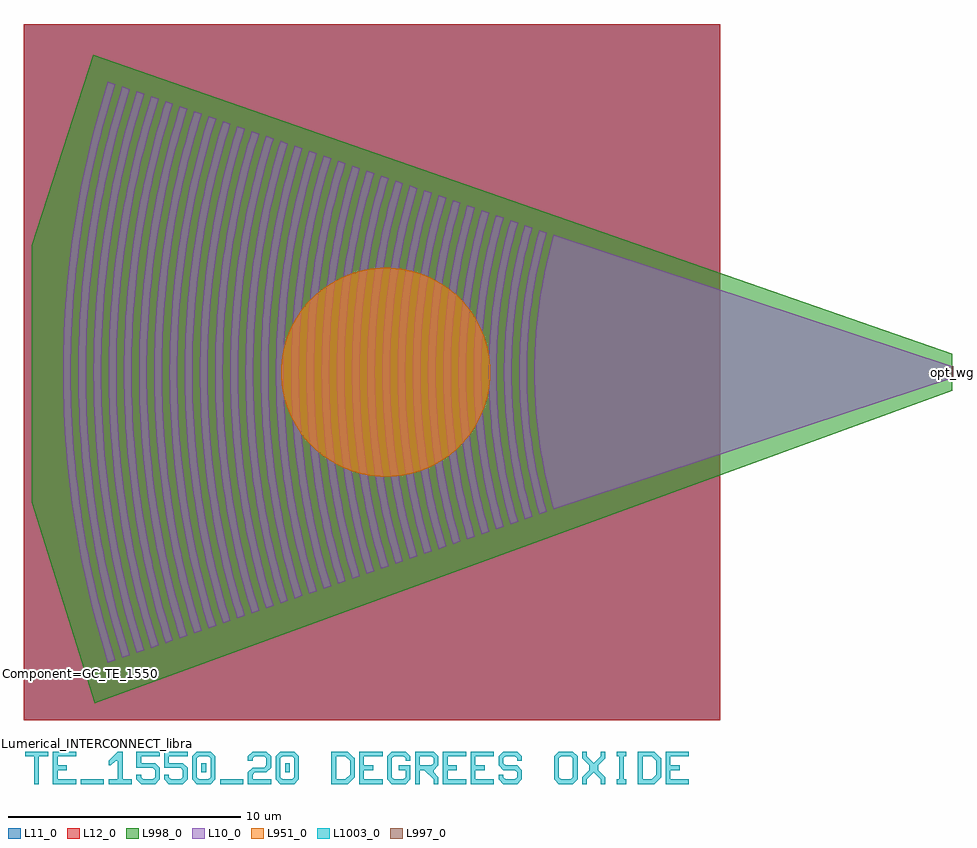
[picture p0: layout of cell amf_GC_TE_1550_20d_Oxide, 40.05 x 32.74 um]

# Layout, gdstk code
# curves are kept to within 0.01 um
import gdstk
lib = gdstk.Library(unit=1e-6, precision=1e-09)
def R(c, l, rs):  # rectangles x0, y0, x1, y1
    for r in rs: c.add(gdstk.rectangle(r[:2], r[2:], *l))
def P(c, l, *ps):  # polygons
    for p in ps: c.add(gdstk.Polygon(p, *l))
L10_0 = (10, 0)
L11_0 = (11, 0)
L12_0 = (12, 0)
L951_0 = (951, 0)
L997_0 = (997, 0)
L998_0 = (998, 0)
L1003_0 = (1003, 0)

amf_gc_te_1550_20d_oxide = lib.new_cell('amf_GC_TE_1550_20d_Oxide')
R(amf_gc_te_1550_20d_oxide, L10_0, [(-1,-0.25,0,0.25)])
P(amf_gc_te_1550_20d_oxide, L10_0, [(-25.219,-8.684),(-25.518,-7.637),(-25.777,-6.582),(-25.998,-5.519),(-26.18,-4.45),(-26.323,-3.376),(-26.426,-2.298),(-26.49,-1.217),(-26.515,-0.135),(-26.5,0.947),(-26.446,2.028),(-26.352,3.106),(-26.22,4.182),(-26.048,5.252),(-25.836,6.317),(-25.518,7.637),(-25.219,8.684),(-24.898,8.573),(-25.192,7.54),(-25.448,6.498),(-25.666,5.448),(-25.845,4.393),(-25.986,3.332),(-26.088,2.268),(-26.151,1.202),(-26.175,0.134),(-26.16,-0.935),(-26.107,-2.002),(-26.015,-3.067),(-25.884,-4.128),(-25.666,-5.448),(-25.448,-6.498),(-25.192,-7.54),(-24.898,-8.573)],
  [(-25.838,-8.897),(-26.145,-7.825),(-26.412,-6.744),(-26.639,-5.655),(-26.826,-4.56),(-26.973,-3.459),(-27.079,-2.354),(-27.145,-1.247),(-27.17,-0.139),(-27.145,1.247),(-27.079,2.354),(-26.973,3.459),(-26.826,4.56),(-26.639,5.655),(-26.412,6.744),(-26.145,7.825),(-25.838,8.897),(-25.517,8.786),(-25.819,7.727),(-26.083,6.66),(-26.307,5.584),(-26.491,4.503),(-26.635,3.416),(-26.74,2.325),(-26.805,1.232),(-26.83,0.137),(-26.815,-0.958),(-26.76,-2.052),(-26.665,-3.143),(-26.491,-4.503),(-26.307,-5.584),(-26.083,-6.66),(-25.819,-7.727),(-25.517,-8.786)],
  [(-26.458,-9.11),(-26.773,-8.013),(-27.047,-6.906),(-27.28,-5.791),(-27.472,-4.669),(-27.622,-3.542),(-27.731,-2.411),(-27.799,-1.277),(-27.825,-0.142),(-27.809,0.994),(-27.752,2.128),(-27.622,3.542),(-27.472,4.669),(-27.28,5.791),(-27.047,6.906),(-26.773,8.013),(-26.458,9.11),(-26.136,8.999),(-26.447,7.915),(-26.717,6.822),(-26.947,5.72),(-27.137,4.612),(-27.285,3.499),(-27.393,2.382),(-27.459,1.262),(-27.485,0.14),(-27.47,-0.981),(-27.393,-2.382),(-27.285,-3.499),(-27.137,-4.612),(-26.947,-5.72),(-26.717,-6.822),(-26.447,-7.915),(-26.136,-8.999)],
  [(-27.077,-9.323),(-27.4,-8.2),(-27.681,-7.068),(-27.921,-5.927),(-28.117,-4.779),(-28.272,-3.626),(-28.384,-2.468),(-28.453,-1.307),(-28.48,-0.145),(-28.464,1.017),(-28.405,2.178),(-28.304,3.337),(-28.16,4.491),(-27.974,5.641),(-27.745,6.783),(-27.4,8.2),(-27.077,9.323),(-26.756,9.213),(-27.074,8.103),(-27.352,6.984),(-27.588,5.856),(-27.782,4.722),(-27.935,3.582),(-28.045,2.438),(-28.114,1.292),(-28.14,0.144),(-28.114,-1.292),(-28.045,-2.438),(-27.935,-3.582),(-27.782,-4.722),(-27.588,-5.856),(-27.352,-6.984),(-27.074,-8.103),(-26.756,-9.213)],
  [(-27.696,-9.537),(-28.028,-8.388),(-28.316,-7.23),(-28.561,-6.063),(-28.763,-4.889),(-28.922,-3.709),(-29.036,-2.525),(-29.108,-1.337),(-29.135,-0.149),(-29.118,1.04),(-29.058,2.228),(-28.954,3.413),(-28.807,4.594),(-28.616,5.77),(-28.316,7.23),(-28.028,8.388),(-27.696,9.537),(-27.375,9.426),(-27.702,8.291),(-27.987,7.146),(-28.229,5.992),(-28.428,4.832),(-28.584,3.666),(-28.698,2.495),(-28.768,1.322),(-28.795,0.147),(-28.779,-1.028),(-28.698,-2.495),(-28.584,-3.666),(-28.428,-4.832),(-28.229,-5.992),(-27.987,-7.146),(-27.702,-8.291),(-27.375,-9.426)],
  [(-17.787,-6.125),(-17.988,-5.383),(-18.162,-4.637),(-18.31,-3.887),(-18.431,-3.133),(-18.527,-2.376),(-18.596,-1.617),(-18.639,-0.856),(-18.655,-0.095),(-18.645,0.666),(-18.609,1.427),(-18.565,1.997),(-18.458,2.944),(-18.343,3.699),(-18.162,4.637),(-17.988,5.383),(-17.787,6.125),(-17.466,6.014),(-17.662,5.286),(-17.832,4.553),(-17.977,3.816),(-18.096,3.076),(-18.19,2.333),(-18.257,1.587),(-18.299,0.841),(-18.315,0.093),(-18.305,-0.654),(-18.27,-1.401),(-18.209,-2.146),(-18.122,-2.89),(-18.009,-3.631),(-17.871,-4.369),(-17.662,-5.286),(-17.466,-6.014)],
  [(-18.407,-6.338),(-18.663,-5.379),(-18.838,-4.605),(-18.985,-3.828),(-19.077,-3.242),(-19.176,-2.459),(-19.248,-1.674),(-19.293,-0.886),(-19.31,-0.099),(-19.3,0.69),(-19.262,1.477),(-19.197,2.263),(-19.105,3.047),(-18.985,3.828),(-18.838,4.605),(-18.663,5.379),(-18.407,6.338),(-18.085,6.227),(-18.289,5.474),(-18.467,4.715),(-18.618,3.952),(-18.742,3.185),(-18.839,2.416),(-18.91,1.644),(-18.953,0.871),(-18.97,0.097),(-18.96,-0.677),(-18.923,-1.451),(-18.859,-2.223),(-18.769,-2.993),(-18.618,-3.952),(-18.467,-4.715),(-18.289,-5.474),(-18.085,-6.227)],
  [(-29.554,-10.176),(-29.91,-8.952),(-30.22,-7.716),(-30.483,-6.471),(-30.7,-5.218),(-30.871,-3.959),(-30.994,-2.695),(-31.07,-1.428),(-31.1,-0.159),(-31.082,1.11),(-31.018,2.378),(-30.906,3.643),(-30.747,4.904),(-30.542,6.158),(-30.22,7.716),(-29.91,8.952),(-29.554,10.176),(-29.233,10.066),(-29.584,8.854),(-29.891,7.632),(-30.151,6.4),(-30.365,5.161),(-30.533,3.916),(-30.655,2.665),(-30.731,1.412),(-30.76,0.157),(-30.742,-1.098),(-30.679,-2.352),(-30.568,-3.603),(-30.412,-4.85),(-30.209,-6.091),(-29.891,-7.632),(-29.584,-8.854),(-29.233,-10.066)],
  [(-30.174,-10.39),(-30.538,-9.139),(-30.855,-7.878),(-31.124,-6.607),(-31.346,-5.328),(-31.52,-4.042),(-31.647,-2.752),(-31.725,-1.458),(-31.755,-0.162),(-31.725,1.458),(-31.647,2.752),(-31.52,4.042),(-31.346,5.328),(-31.124,6.607),(-30.855,7.878),(-30.538,9.139),(-30.174,10.39),(-29.852,10.279),(-30.212,9.042),(-30.525,7.794),(-30.792,6.536),(-31.011,5.271),(-31.183,3.999),(-31.308,2.722),(-31.385,1.442),(-31.415,0.16),(-31.397,-1.122),(-31.332,-2.402),(-31.219,-3.68),(-31.011,-5.271),(-30.792,-6.536),(-30.525,-7.794),(-30.212,-9.042),(-29.852,-10.279)],
  [(-20.265,-6.978),(-20.498,-6.135),(-20.7,-5.285),(-20.873,-4.431),(-21.014,-3.572),(-21.101,-2.925),(-21.206,-1.844),(-21.256,-0.977),(-21.275,-0.109),(-21.263,0.76),(-21.221,1.627),(-21.17,2.277),(-21.045,3.356),(-20.911,4.216),(-20.746,5.072),(-20.498,6.135),(-20.265,6.978),(-19.943,6.867),(-20.172,6.037),(-20.371,5.201),(-20.54,4.36),(-20.679,3.515),(-20.788,2.666),(-20.867,1.814),(-20.916,0.961),(-20.935,0.107),(-20.924,-0.748),(-20.867,-1.814),(-20.788,-2.666),(-20.679,-3.515),(-20.54,-4.36),(-20.371,-5.201),(-20.172,-6.037),(-19.943,-6.867)],
  [(-20.884,-7.191),(-21.125,-6.322),(-21.335,-5.447),(-21.513,-4.567),(-21.66,-3.681),(-21.775,-2.792),(-21.859,-1.901),(-21.91,-1.007),(-21.93,-0.112),(-21.918,0.783),(-21.874,1.677),(-21.799,2.57),(-21.692,3.46),(-21.553,4.346),(-21.383,5.228),(-21.181,6.104),(-20.884,7.191),(-20.562,7.08),(-20.799,6.225),(-21.006,5.363),(-21.181,4.496),(-21.325,3.625),(-21.438,2.749),(-21.52,1.871),(-21.57,0.991),(-21.59,0.11),(-21.578,-0.771),(-21.52,-1.871),(-21.438,-2.749),(-21.325,-3.625),(-21.181,-4.496),(-21.006,-5.363),(-20.799,-6.225),(-20.562,-7.08)],
  [(-32.032,-11.029),(-32.42,-9.703),(-32.759,-8.364),(-33.046,-7.015),(-33.283,-5.657),(-33.469,-4.292),(-33.604,-2.922),(-33.688,-1.548),(-33.72,-0.172),(-33.701,1.204),(-33.63,2.579),(-33.508,3.95),(-33.335,5.316),(-33.046,7.015),(-32.759,8.364),(-32.42,9.703),(-32.032,11.029),(-31.71,10.919),(-32.094,9.605),(-32.429,8.28),(-32.714,6.944),(-32.948,5.6),(-33.132,4.249),(-33.265,2.892),(-33.348,1.532),(-33.38,0.17),(-33.361,-1.192),(-33.291,-2.553),(-33.17,-3.91),(-32.999,-5.263),(-32.777,-6.609),(-32.505,-7.947),(-32.183,-9.275),(-31.71,-10.919)],
  [(-32.651,-11.243),(-33.048,-9.891),(-33.393,-8.526),(-33.687,-7.151),(-33.929,-5.767),(-34.119,-4.375),(-34.257,-2.979),(-34.342,-1.578),(-34.375,-0.175),(-34.372,0.526),(-34.342,1.578),(-34.257,2.979),(-34.119,4.375),(-33.929,5.767),(-33.687,7.151),(-33.393,8.526),(-33.048,9.891),(-32.651,11.243),(-32.329,11.132),(-32.722,9.793),(-33.064,8.442),(-33.354,7.08),(-33.594,5.71),(-33.782,4.332),(-33.918,2.949),(-34.002,1.562),(-34.035,0.174),(-34.015,-1.215),(-33.944,-2.603),(-33.821,-3.987),(-33.646,-5.366),(-33.419,-6.738),(-33.287,-7.422),(-33.064,-8.442),(-32.722,-9.793),(-32.329,-11.132)],
  [(-22.742,-7.831),(-23.008,-6.886),(-23.239,-5.933),(-23.436,-4.975),(-23.597,-4.011),(-23.724,-3.042),(-23.816,-2.071),(-23.873,-1.097),(-23.895,-0.122),(-23.882,0.853),(-23.834,1.827),(-23.724,3.042),(-23.597,4.011),(-23.436,4.975),(-23.239,5.933),(-23.008,6.886),(-22.742,7.831),(-22.42,7.72),(-22.682,6.788),(-22.91,5.849),(-23.103,4.904),(-23.262,3.954),(-23.387,2.999),(-23.477,2.041),(-23.533,1.081),(-23.555,0.12),(-23.542,-0.841),(-23.495,-1.801),(-23.413,-2.76),(-23.297,-3.715),(-23.146,-4.667),(-22.91,-5.849),(-22.682,-6.788),(-22.42,-7.72)],
  [(-23.361,-8.044),(-23.635,-7.074),(-23.874,-6.096),(-24.076,-5.111),(-24.243,-4.12),(-24.374,-3.126),(-24.469,-2.127),(-24.527,-1.127),(-24.55,-0.125),(-24.536,0.877),(-24.469,2.127),(-24.374,3.126),(-24.243,4.12),(-24.076,5.111),(-23.874,6.096),(-23.635,7.074),(-23.361,8.044),(-23.04,7.933),(-23.309,6.976),(-23.544,6.011),(-23.744,5.04),(-23.908,4.064),(-24.037,3.082),(-24.13,2.098),(-24.188,1.111),(-24.21,0.124),(-24.197,-0.864),(-24.148,-1.852),(-24.037,-3.082),(-23.908,-4.064),(-23.744,-5.04),(-23.544,-6.011),(-23.309,-6.976),(-23.04,-7.933)],
  [(-34.509,-11.882),(-34.93,-10.454),(-35.297,-9.012),(-35.609,-7.559),(-35.866,-6.096),(-36.068,-4.625),(-36.214,-3.149),(-36.305,-1.668),(-36.34,-0.185),(-36.319,1.298),(-36.242,2.779),(-36.11,4.257),(-35.922,5.729),(-35.679,7.194),(-35.46,8.287),(-35.297,9.012),(-34.93,10.454),(-34.509,11.882),(-34.187,11.772),(-34.604,10.357),(-34.968,8.928),(-35.277,7.488),(-35.531,6.039),(-35.731,4.582),(-35.876,3.119),(-35.965,1.653),(-36,0.184),(-35.979,-1.285),(-35.948,-2.019),(-35.876,-3.119),(-35.731,-4.582),(-35.531,-6.039),(-35.277,-7.488),(-34.968,-8.928),(-34.604,-10.357),(-34.187,-11.772)],
  [(-35.128,-12.096),(-35.558,-10.642),(-35.932,-9.174),(-36.25,-7.695),(-36.512,-6.206),(-36.718,-4.709),(-36.867,-3.205),(-36.959,-1.698),(-36.995,-0.189),(-36.973,1.321),(-36.895,2.829),(-36.76,4.333),(-36.569,5.832),(-36.321,7.324),(-36.017,8.806),(-35.752,9.91),(-35.558,10.642),(-35.128,12.096),(-34.807,11.985),(-35.232,10.544),(-35.602,9.09),(-35.917,7.624),(-36.177,6.149),(-36.381,4.665),(-36.528,3.176),(-36.62,1.683),(-36.655,0.187),(-36.62,-1.683),(-36.528,-3.176),(-36.381,-4.665),(-36.177,-6.149),(-35.917,-7.624),(-35.602,-9.09),(-35.232,-10.544),(-34.807,-11.985)],
  [(-35.747,-12.309),(-36.185,-10.83),(-36.566,-9.336),(-36.891,-7.831),(-37.158,-6.316),(-37.367,-4.792),(-37.519,-3.262),(-37.614,-1.728),(-37.65,-0.192),(-37.628,1.344),(-37.548,2.879),(-37.411,4.41),(-37.216,5.935),(-36.963,7.453),(-36.653,8.961),(-36.286,10.458),(-36.081,11.201),(-35.747,12.309),(-35.426,12.198),(-35.859,10.732),(-36.237,9.252),(-36.558,7.76),(-36.823,6.259),(-37.03,4.749),(-37.181,3.233),(-37.274,1.713),(-37.31,0.19),(-37.299,-0.952),(-37.234,-2.473),(-37.113,-3.991),(-36.984,-5.127),(-36.762,-6.635),(-36.63,-7.386),(-36.405,-8.508),(-36.148,-9.623),(-35.959,-10.363),(-35.65,-11.467),(-35.426,-12.198)],
  [(-36.367,-12.522),(-36.813,-11.017),(-37.201,-9.498),(-37.531,-7.967),(-37.804,-6.425),(-38.017,-4.875),(-38.172,-3.319),(-38.268,-1.758),(-38.305,-0.195),(-38.283,1.368),(-38.227,2.539),(-38.172,3.319),(-38.017,4.875),(-37.804,6.425),(-37.531,7.967),(-37.201,9.498),(-36.813,11.017),(-36.367,12.522),(-36.045,12.411),(-36.487,10.92),(-36.872,9.414),(-37.199,7.896),(-37.468,6.368),(-37.68,4.832),(-37.833,3.29),(-37.928,1.743),(-37.965,0.194),(-37.943,-1.356),(-37.888,-2.517),(-37.764,-4.061),(-37.632,-5.217),(-37.527,-5.985),(-37.341,-7.134),(-37.199,-7.896),(-36.959,-9.036),(-36.781,-9.792),(-36.487,-10.92),(-36.045,-12.411)],
  [(-17.168,-5.911),(-17.36,-5.196),(-17.527,-4.475),(-17.669,-3.751),(-17.786,-3.023),(-17.877,-2.293),(-17.943,-1.56),(-17.984,-0.826),(-18,-0.092),(-17.991,0.643),(-17.956,1.377),(-17.896,2.11),(-17.786,3.023),(-17.669,3.751),(-17.527,4.475),(-17.36,5.196),(-17.168,5.911),(0,0.25),(0,-0.25)],
  [(-19.026,-6.551),(-19.243,-5.759),(-19.431,-4.961),(-19.591,-4.159),(-19.723,-3.352),(-19.826,-2.542),(-19.901,-1.73),(-19.947,-0.917),(-19.965,-0.102),(-19.947,0.917),(-19.901,1.73),(-19.826,2.542),(-19.723,3.352),(-19.591,4.159),(-19.431,4.961),(-19.243,5.759),(-19.026,6.551),(-18.704,6.44),(-18.917,5.662),(-19.102,4.877),(-19.259,4.088),(-19.388,3.295),(-19.489,2.499),(-19.562,1.701),(-19.608,0.901),(-19.625,0.1),(-19.615,-0.701),(-19.576,-1.501),(-19.51,-2.3),(-19.416,-3.097),(-19.259,-4.088),(-19.144,-4.68),(-18.966,-5.466),(-18.704,-6.44)],
  [(-19.645,-6.764),(-19.87,-5.947),(-20.066,-5.123),(-20.232,-4.295),(-20.369,-3.462),(-20.476,-2.626),(-20.553,-1.787),(-20.602,-0.947),(-20.62,-0.105),(-20.609,0.736),(-20.568,1.577),(-20.476,2.626),(-20.369,3.462),(-20.232,4.295),(-20.066,5.123),(-19.87,5.947),(-19.645,6.764),(-19.324,6.654),(-19.544,5.849),(-19.736,5.039),(-19.899,4.224),(-20.033,3.405),(-20.139,2.583),(-20.215,1.758),(-20.262,0.931),(-20.28,0.103),(-20.262,-0.931),(-20.215,-1.758),(-20.139,-2.583),(-20.033,-3.405),(-19.899,-4.224),(-19.736,-5.039),(-19.544,-5.849),(-19.324,-6.654)],
  [(-28.316,-9.75),(-28.655,-8.576),(-28.951,-7.392),(-29.202,-6.199),(-29.409,-4.999),(-29.571,-3.792),(-29.689,-2.581),(-29.762,-1.367),(-29.79,-0.152),(-29.773,1.064),(-29.711,2.278),(-29.605,3.49),(-29.454,4.697),(-29.258,5.899),(-28.951,7.392),(-28.655,8.576),(-28.316,9.75),(-27.994,9.639),(-28.329,8.479),(-28.621,7.308),(-28.869,6.128),(-29.074,4.942),(-29.234,3.749),(-29.35,2.552),(-29.422,1.352),(-29.45,0.15),(-29.422,-1.352),(-29.35,-2.552),(-29.234,-3.749),(-29.074,-4.942),(-28.869,-6.128),(-28.621,-7.308),(-28.329,-8.479),(-27.994,-9.639)],
  [(-28.935,-9.963),(-29.283,-8.764),(-29.585,-7.554),(-29.843,-6.335),(-30.055,-5.108),(-30.221,-3.876),(-30.341,-2.638),(-30.416,-1.398),(-30.445,-0.155),(-30.428,1.087),(-30.364,2.328),(-30.255,3.567),(-30.101,4.801),(-29.9,6.029),(-29.654,7.25),(-29.283,8.764),(-28.935,9.963),(-28.613,9.852),(-28.957,8.666),(-29.256,7.47),(-29.51,6.264),(-29.719,5.051),(-29.884,3.832),(-30.003,2.609),(-30.077,1.382),(-30.105,0.154),(-30.088,-1.075),(-30.025,-2.302),(-29.918,-3.527),(-29.765,-4.747),(-29.567,-5.962),(-29.324,-7.169),(-29.036,-8.368),(-28.613,-9.852)],
  [(-21.503,-7.404),(-21.753,-6.51),(-21.97,-5.609),(-22.154,-4.703),(-22.306,-3.791),(-22.425,-2.876),(-22.511,-1.957),(-22.564,-1.037),(-22.585,-0.115),(-22.573,0.806),(-22.527,1.727),(-22.449,2.646),(-22.339,3.563),(-22.154,4.703),(-21.97,5.609),(-21.753,6.51),(-21.503,7.404),(-21.182,7.293),(-21.427,6.413),(-21.64,5.525),(-21.821,4.632),(-21.971,3.734),(-22.088,2.832),(-22.172,1.928),(-22.225,1.021),(-22.245,0.113),(-22.225,-1.021),(-22.172,-1.928),(-22.088,-2.832),(-21.971,-3.734),(-21.821,-4.632),(-21.64,-5.525),(-21.427,-6.413),(-21.182,-7.293)],
  [(-22.122,-7.617),(-22.38,-6.698),(-22.604,-5.771),(-22.795,-4.839),(-22.952,-3.901),(-23.075,-2.959),(-23.164,-2.014),(-23.219,-1.067),(-23.24,-0.119),(-23.227,0.83),(-23.181,1.777),(-23.075,2.959),(-22.952,3.901),(-22.795,4.839),(-22.604,5.771),(-22.38,6.698),(-22.122,7.617),(-21.801,7.507),(-22.054,6.601),(-22.275,5.687),(-22.462,4.768),(-22.616,3.844),(-22.737,2.916),(-22.825,1.985),(-22.879,1.051),(-22.9,0.117),(-22.887,-0.818),(-22.842,-1.751),(-22.762,-2.683),(-22.65,-3.612),(-22.504,-4.538),(-22.325,-5.458),(-22.113,-6.373),(-21.801,-7.507)],
  [(-30.793,-10.603),(-31.165,-9.327),(-31.489,-8.04),(-31.765,-6.743),(-31.992,-5.438),(-32.17,-4.125),(-32.299,-2.808),(-32.379,-1.488),(-32.41,-0.165),(-32.391,1.157),(-32.324,2.478),(-32.207,3.797),(-31.992,5.438),(-31.765,6.743),(-31.489,8.04),(-31.165,9.327),(-30.793,10.603),(-30.471,10.492),(-30.839,9.23),(-31.16,7.956),(-31.432,6.672),(-31.657,5.381),(-31.833,4.082),(-31.96,2.779),(-32.039,1.472),(-32.07,0.164),(-32.052,-1.145),(-31.985,-2.452),(-31.833,-4.082),(-31.657,-5.381),(-31.432,-6.672),(-31.16,-7.956),(-30.839,-9.23),(-30.471,-10.492)],
  [(-31.412,-10.816),(-31.793,-9.515),(-32.124,-8.202),(-32.406,-6.879),(-32.638,-5.547),(-32.82,-4.209),(-32.952,-2.865),(-33.033,-1.518),(-33.065,-0.169),(-33.046,1.181),(-32.952,2.865),(-32.82,4.209),(-32.638,5.547),(-32.406,6.879),(-32.124,8.202),(-31.793,9.515),(-31.412,10.816),(-31.091,10.705),(-31.467,9.418),(-31.794,8.118),(-32.073,6.808),(-32.302,5.49),(-32.482,4.166),(-32.613,2.836),(-32.694,1.502),(-32.725,0.167),(-32.706,-1.169),(-32.638,-2.503),(-32.52,-3.833),(-32.352,-5.16),(-32.135,-6.48),(-31.869,-7.791),(-31.467,-9.418),(-31.091,-10.705)],
  [(-23.98,-8.257),(-24.263,-7.261),(-24.508,-6.258),(-24.717,-5.247),(-24.889,-4.23),(-25.024,-3.209),(-25.121,-2.184),(-25.182,-1.157),(-25.205,-0.129),(-25.191,0.9),(-25.14,1.928),(-25.024,3.209),(-24.889,4.23),(-24.717,5.247),(-24.508,6.258),(-24.263,7.261),(-23.98,8.257),(-23.659,8.146),(-23.937,7.164),(-24.179,6.173),(-24.384,5.176),(-24.554,4.173),(-24.686,3.166),(-24.782,2.155),(-24.842,1.141),(-24.865,0.127),(-24.851,-0.888),(-24.801,-1.902),(-24.714,-2.913),(-24.554,-4.173),(-24.384,-5.176),(-24.179,-6.173),(-23.937,-7.164),(-23.659,-8.146)],
  [(-24.6,-8.47),(-24.89,-7.449),(-25.143,-6.42),(-25.358,-5.383),(-25.535,-4.34),(-25.673,-3.292),(-25.774,-2.241),(-25.836,-1.187),(-25.86,-0.132),(-25.846,0.923),(-25.774,2.241),(-25.673,3.292),(-25.535,4.34),(-25.358,5.383),(-25.143,6.42),(-24.89,7.449),(-24.6,8.47),(-24.278,8.36),(-24.564,7.352),(-24.813,6.336),(-25.025,5.312),(-25.199,4.283),(-25.336,3.249),(-25.435,2.212),(-25.496,1.172),(-25.52,0.13),(-25.506,-0.911),(-25.454,-1.952),(-25.364,-2.99),(-25.237,-4.025),(-25.072,-5.055),(-24.87,-6.08),(-24.63,-7.098),(-24.278,-8.36)],
  [(-33.27,-11.456),(-33.675,-10.078),(-34.028,-8.688),(-34.328,-7.287),(-34.575,-5.877),(-34.769,-4.459),(-34.909,-3.035),(-34.996,-1.608),(-35.03,-0.179),(-35.01,1.251),(-34.936,2.679),(-34.846,3.748),(-34.769,4.459),(-34.575,5.877),(-34.328,7.287),(-34.028,8.688),(-33.675,10.078),(-33.27,11.456),(-32.949,11.345),(-33.349,9.981),(-33.698,8.604),(-33.995,7.216),(-34.24,5.82),(-34.431,4.415),(-34.571,3.006),(-34.657,1.592),(-34.69,0.177),(-34.687,-0.531),(-34.657,-1.592),(-34.571,-3.006),(-34.431,-4.415),(-34.24,-5.82),(-33.995,-7.216),(-33.698,-8.604),(-33.349,-9.981),(-32.949,-11.345)],
  [(-33.889,-11.669),(-34.303,-10.266),(-34.662,-8.85),(-34.969,-7.423),(-35.221,-5.986),(-35.418,-4.542),(-35.562,-3.092),(-35.651,-1.638),(-35.685,-0.182),(-35.675,0.91),(-35.651,1.638),(-35.562,3.092),(-35.418,4.542),(-35.221,5.986),(-34.969,7.423),(-34.662,8.85),(-34.303,10.266),(-33.889,11.669),(-33.568,11.558),(-33.977,10.169),(-34.333,8.766),(-34.636,7.352),(-34.885,5.929),(-35.081,4.499),(-35.223,3.063),(-35.311,1.622),(-35.345,0.18),(-35.325,-1.262),(-35.274,-2.343),(-35.223,-3.063),(-35.081,-4.499),(-34.885,-5.929),(-34.636,-7.352),(-34.333,-8.766),(-33.977,-10.169),(-33.568,-11.558)])
R(amf_gc_te_1550_20d_oxide, L11_0, [(-40,-15,-10,15)])
R(amf_gc_te_1550_20d_oxide, L12_0, [(-40,-15,-10,15)])
P(amf_gc_te_1550_20d_oxide, L951_0, [(-24.62,-4.5),(-25.06,-4.457),(-25.494,-4.37),(-25.917,-4.242),(-26.325,-4.073),(-26.715,-3.864),(-27.083,-3.619),(-27.425,-3.338),(-27.737,-3.026),(-28.018,-2.684),(-28.263,-2.316),(-28.472,-1.926),(-28.641,-1.518),(-28.769,-1.095),(-28.856,-0.661),(-28.899,-0.221),(-28.899,0.221),(-28.856,0.661),(-28.769,1.095),(-28.641,1.518),(-28.472,1.926),(-28.263,2.316),(-28.018,2.684),(-27.737,3.026),(-27.425,3.338),(-27.083,3.619),(-26.715,3.864),(-26.325,4.073),(-25.917,4.242),(-25.494,4.37),(-25.06,4.457),(-24.62,4.5),(-24.178,4.5),(-23.738,4.457),(-23.304,4.37),(-22.881,4.242),(-22.473,4.073),(-22.083,3.864),(-21.715,3.619),(-21.373,3.338),(-21.061,3.026),(-20.78,2.684),(-20.535,2.316),(-20.326,1.926),(-20.157,1.518),(-20.029,1.095),(-19.942,0.661),(-19.899,0.221),(-19.899,-0.221),(-19.942,-0.661),(-20.029,-1.095),(-20.157,-1.518),(-20.326,-1.926),(-20.535,-2.316),(-20.78,-2.684),(-21.061,-3.026),(-21.373,-3.338),(-21.715,-3.619),(-22.083,-3.864),(-22.473,-4.073),(-22.881,-4.242),(-23.304,-4.37),(-23.738,-4.457),(-24.178,-4.5)])
P(amf_gc_te_1550_20d_oxide, L998_0, [(-36.93,-14.26),(-39.65,-5.6),(-39.65,5.474),(-37.01,13.68),(0,0.8),(0,-0.8)])
R(amf_gc_te_1550_20d_oxide, L1003_0, [(-37.54,-17.74,-36.54,-17.54), (-31.54,-17.74,-30.54,-17.54), (-32.34,-17.24,-32.14,-16.84), (-28.74,-17.24,-28.54,-16.84)])
P(amf_gc_te_1550_20d_oxide, L1003_0, [(-39.54,-17.74),(-39.54,-16.54),(-39.94,-16.54),(-39.94,-16.34),(-38.94,-16.34),(-38.94,-16.54),(-39.34,-16.54),(-39.34,-17.74)],
  [(-38.74,-17.74),(-38.74,-16.34),(-37.74,-16.34),(-37.74,-16.54),(-38.54,-16.54),(-38.54,-16.94),(-38.14,-16.94),(-38.14,-17.14),(-38.54,-17.14),(-38.54,-17.54),(-37.74,-17.54),(-37.74,-17.74)],
  [(-36.34,-17.74),(-36.34,-17.54),(-35.94,-17.54),(-35.94,-16.74),(-36.04,-16.74),(-36.24,-16.94),(-36.34,-16.94),(-36.34,-16.74),(-35.94,-16.34),(-35.74,-16.34),(-35.74,-17.54),(-35.34,-17.54),(-35.34,-17.74)],
  [(-34.94,-17.74),(-35.14,-17.54),(-35.14,-17.34),(-34.94,-17.34),(-34.94,-17.44),(-34.84,-17.54),(-34.44,-17.54),(-34.34,-17.44),(-34.34,-17.14),(-34.44,-17.04),(-35.14,-17.04),(-35.14,-16.34),(-34.14,-16.34),(-34.14,-16.54),(-34.94,-16.54),(-34.94,-16.84),(-34.34,-16.84),(-34.14,-17.04),(-34.14,-17.54),(-34.34,-17.74)],
  [(-33.74,-17.74),(-33.94,-17.54),(-33.94,-17.34),(-33.74,-17.34),(-33.74,-17.44),(-33.64,-17.54),(-33.24,-17.54),(-33.14,-17.44),(-33.14,-17.14),(-33.24,-17.04),(-33.94,-17.04),(-33.94,-16.34),(-32.94,-16.34),(-32.94,-16.54),(-33.74,-16.54),(-33.74,-16.84),(-33.14,-16.84),(-32.94,-17.04),(-32.94,-17.54),(-33.14,-17.74)],
  [(-32.54,-17.74),(-32.74,-17.54),(-32.74,-16.54),(-32.54,-16.34),(-31.94,-16.34),(-31.74,-16.54),(-32.44,-16.54),(-32.54,-16.64),(-32.54,-17.44),(-32.44,-17.54),(-32.04,-17.54),(-31.94,-17.44),(-31.94,-16.64),(-32.04,-16.54),(-31.74,-16.54),(-31.74,-17.54),(-31.94,-17.74)],
  [(-30.34,-17.74),(-30.34,-17.24),(-30.14,-17.04),(-29.64,-17.04),(-29.54,-16.94),(-29.54,-16.64),(-29.64,-16.54),(-30.04,-16.54),(-30.14,-16.64),(-30.14,-16.74),(-30.34,-16.74),(-30.34,-16.54),(-30.14,-16.34),(-29.54,-16.34),(-29.34,-16.54),(-29.34,-17.04),(-29.54,-17.24),(-30.04,-17.24),(-30.14,-17.34),(-30.14,-17.54),(-29.34,-17.54),(-29.34,-17.74)],
  [(-28.94,-17.74),(-29.14,-17.54),(-29.14,-16.54),(-28.94,-16.34),(-28.34,-16.34),(-28.14,-16.54),(-28.84,-16.54),(-28.94,-16.64),(-28.94,-17.44),(-28.84,-17.54),(-28.44,-17.54),(-28.34,-17.44),(-28.34,-16.64),(-28.44,-16.54),(-28.14,-16.54),(-28.14,-17.54),(-28.34,-17.74)],
  [(-26.74,-17.74),(-26.74,-16.34),(-26.04,-16.34),(-25.84,-16.54),(-26.54,-16.54),(-26.54,-17.54),(-26.14,-17.54),(-25.94,-17.34),(-25.94,-16.74),(-26.14,-16.54),(-25.84,-16.54),(-25.74,-16.64),(-25.74,-17.44),(-26.04,-17.74)],
  [(-25.54,-17.74),(-25.54,-16.34),(-24.54,-16.34),(-24.54,-16.54),(-25.34,-16.54),(-25.34,-16.94),(-24.94,-16.94),(-24.94,-17.14),(-25.34,-17.14),(-25.34,-17.54),(-24.54,-17.54),(-24.54,-17.74)],
  [(-24.14,-17.74),(-24.34,-17.54),(-24.34,-16.54),(-24.14,-16.34),(-23.54,-16.34),(-23.34,-16.54),(-23.34,-16.74),(-23.54,-16.74),(-23.54,-16.64),(-23.64,-16.54),(-24.04,-16.54),(-24.14,-16.64),(-24.14,-17.44),(-24.04,-17.54),(-23.64,-17.54),(-23.54,-17.44),(-23.54,-17.14),(-23.84,-17.14),(-23.84,-16.94),(-23.34,-16.94),(-23.34,-17.54),(-23.54,-17.74)],
  [(-23.14,-17.74),(-23.14,-16.34),(-22.34,-16.34),(-22.14,-16.54),(-22.94,-16.54),(-22.94,-16.94),(-22.44,-16.94),(-22.34,-16.84),(-22.34,-16.64),(-22.44,-16.54),(-22.14,-16.54),(-22.14,-16.94),(-22.34,-17.14),(-22.34,-17.24),(-22.14,-17.44),(-22.14,-17.74),(-22.34,-17.74),(-22.34,-17.54),(-22.74,-17.14),(-22.94,-17.14),(-22.94,-17.74)],
  [(-21.94,-17.74),(-21.94,-16.34),(-20.94,-16.34),(-20.94,-16.54),(-21.74,-16.54),(-21.74,-16.94),(-21.34,-16.94),(-21.34,-17.14),(-21.74,-17.14),(-21.74,-17.54),(-20.94,-17.54),(-20.94,-17.74)],
  [(-20.74,-17.74),(-20.74,-16.34),(-19.74,-16.34),(-19.74,-16.54),(-20.54,-16.54),(-20.54,-16.94),(-20.14,-16.94),(-20.14,-17.14),(-20.54,-17.14),(-20.54,-17.54),(-19.74,-17.54),(-19.74,-17.74)],
  [(-19.34,-17.74),(-19.54,-17.54),(-19.54,-17.34),(-19.34,-17.34),(-19.34,-17.44),(-19.24,-17.54),(-18.84,-17.54),(-18.74,-17.44),(-18.74,-17.24),(-18.84,-17.14),(-19.34,-17.14),(-19.54,-16.94),(-19.54,-16.54),(-19.34,-16.34),(-18.74,-16.34),(-18.54,-16.54),(-18.54,-16.74),(-18.74,-16.74),(-18.74,-16.64),(-18.84,-16.54),(-19.24,-16.54),(-19.34,-16.64),(-19.34,-16.84),(-19.24,-16.94),(-18.74,-16.94),(-18.54,-17.14),(-18.54,-17.54),(-18.74,-17.74)],
  [(-16.94,-17.74),(-17.14,-17.54),(-17.14,-16.54),(-16.94,-16.34),(-16.34,-16.34),(-16.14,-16.54),(-16.14,-17.04),(-16.34,-17.04),(-16.34,-16.64),(-16.44,-16.54),(-16.84,-16.54),(-16.94,-16.64),(-16.94,-17.44),(-16.84,-17.54),(-16.44,-17.54),(-16.34,-17.44),(-16.34,-17.04),(-16.14,-17.04),(-16.14,-17.54),(-16.34,-17.74)],
  [(-15.94,-17.74),(-15.94,-17.44),(-15.64,-17.14),(-15.64,-16.94),(-15.94,-16.64),(-15.94,-16.34),(-15.74,-16.34),(-15.74,-16.54),(-15.44,-16.84),(-15.14,-16.54),(-15.14,-16.34),(-14.94,-16.34),(-14.94,-16.64),(-15.24,-16.94),(-15.24,-17.14),(-14.94,-17.44),(-14.94,-17.74),(-15.14,-17.74),(-15.14,-17.54),(-15.44,-17.24),(-15.74,-17.54),(-15.74,-17.74)],
  [(-14.44,-17.74),(-14.44,-17.54),(-14.34,-17.54),(-14.34,-16.54),(-14.44,-16.54),(-14.44,-16.34),(-14.04,-16.34),(-14.04,-16.54),(-14.14,-16.54),(-14.14,-17.54),(-14.04,-17.54),(-14.04,-17.74)],
  [(-13.54,-17.74),(-13.54,-16.34),(-12.84,-16.34),(-12.64,-16.54),(-13.34,-16.54),(-13.34,-17.54),(-12.94,-17.54),(-12.74,-17.34),(-12.74,-16.74),(-12.94,-16.54),(-12.64,-16.54),(-12.54,-16.64),(-12.54,-17.44),(-12.84,-17.74)],
  [(-12.34,-17.74),(-12.34,-16.34),(-11.34,-16.34),(-11.34,-16.54),(-12.14,-16.54),(-12.14,-16.94),(-11.74,-16.94),(-11.74,-17.14),(-12.14,-17.14),(-12.14,-17.54),(-11.34,-17.54),(-11.34,-17.74)])
amf_gc_te_1550_20d_oxide.add(gdstk.FlexPath([(-0.05,0),(0.05,0)], 0.5, ends="flush", simple_path=True, layer=997, datatype=0))  # L997_0
amf_gc_te_1550_20d_oxide.add(gdstk.Label('opt_wg', (0,0), layer=997, texttype=0))
amf_gc_te_1550_20d_oxide.add(gdstk.Label('Lumerical_INTERCONNECT_library=Design kits/SiEPIC_AMF', (-39,-16), layer=998, texttype=0))
amf_gc_te_1550_20d_oxide.add(gdstk.Label('Component=GC_TE_1550', (-39,-13), layer=998, texttype=0))

lib.write_gds('amf_GC_TE_1550_20d_Oxide.gds')
